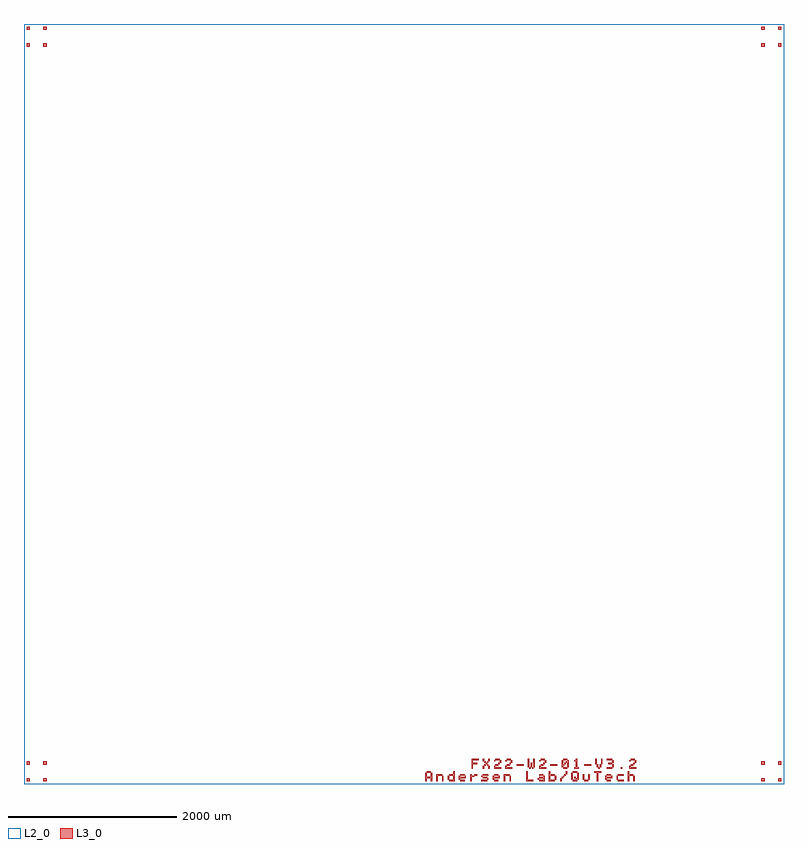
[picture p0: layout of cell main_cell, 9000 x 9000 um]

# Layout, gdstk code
import gdstk
lib = gdstk.Library(unit=1e-6, precision=1e-09)
def R(c, l, rs):  # rectangles x0, y0, x1, y1
    for r in rs: c.add(gdstk.rectangle(r[:2], r[2:], *l))
def P(c, l, *ps):  # polygons
    for p in ps: c.add(gdstk.Polygon(p, *l))
L2_0 = (2, 0)
L3_0 = (3, 0)

main_cell = lib.new_cell('main_cell')
R(main_cell, L2_0, [(-4500,-4500,4500,4500)])
R(main_cell, L3_0, [(-4470,-4470,-4430,-4430), (-4470,-4470,-4430,-4430), (-4470,-4470,-4430,-4430), (-4470,-4470,-4430,-4430), (-4470,-4470,-4430,-4430), (-4470,-4470,-4430,-4430), (-4270,-4470,-4230,-4430), (-4270,-4470,-4230,-4430), (-4270,-4470,-4230,-4430), (-4270,-4470,-4230,-4430), (-4270,-4470,-4230,-4430), (-4270,-4470,-4230,-4430), (4230,-4470,4270,-4430), (4230,-4470,4270,-4430), (4430,-4470,4470,-4430), (4430,-4470,4470,-4430), (983.333,-4450,1000,-4433.333), (1583.333,-4450,1600,-4433.333), (1866.667,-4433.333,1883.333,-4416.667), (2016.667,-4433.333,2033.333,-4416.667), (916.667,-4416.667,933.333,-4400), (1883.333,-4416.667,1900,-4400), (1900,-4400,1916.667,-4383.333), (1483.333,-4316.667,1500,-4300), (1516.667,-4316.667,1533.333,-4300), (2300,-4316.667,2316.667,-4300), (2566.667,-4316.667,2583.333,-4300), (950,-4283.333,966.667,-4266.667), (983.333,-4283.333,1000,-4266.667), (-4470,-4270,-4430,-4230), (-4470,-4270,-4430,-4230), (-4470,-4270,-4430,-4230), (-4470,-4270,-4430,-4230), (-4470,-4270,-4430,-4230), (-4470,-4270,-4430,-4230), (-4270,-4270,-4230,-4230), (-4270,-4270,-4230,-4230), (-4270,-4270,-4230,-4230), (-4270,-4270,-4230,-4230), (-4270,-4270,-4230,-4230), (-4270,-4270,-4230,-4230), (4230,-4270,4270,-4230), (4230,-4270,4270,-4230), (4430,-4270,4470,-4230), (4430,-4270,4470,-4230), (966.667,-4266.667,983.333,-4250), (1116.667,-4266.667,1133.333,-4250), (1250,-4266.667,1266.667,-4250), (1650,-4266.667,1666.667,-4250), (1900,-4266.667,1916.667,-4250), (2716.667,-4266.667,2733.333,-4250), (950,-4250,966.667,-4233.333), (983.333,-4250,1000,-4233.333), (1066.667,-4233.333,1083.333,-4216.667), (1200,-4233.333,1216.667,-4216.667), (1600,-4233.333,1616.667,-4216.667), (2666.667,-4233.333,2683.333,-4216.667), (-4470,4230,-4430,4270), (-4470,4230,-4430,4270), (-4270,4230,-4230,4270), (-4270,4230,-4230,4270), (4230,4230,4270,4270), (4230,4230,4270,4270), (4230,4230,4270,4270), (4230,4230,4270,4270), (4230,4230,4270,4270), (4230,4230,4270,4270), (4430,4230,4470,4270), (4430,4230,4470,4270), (4430,4230,4470,4270), (4430,4230,4470,4270), (4430,4230,4470,4270), (4430,4230,4470,4270), (-4470,4430,-4430,4470), (-4470,4430,-4430,4470), (-4270,4430,-4230,4470), (-4270,4430,-4230,4470), (4230,4430,4270,4470), (4230,4430,4270,4470), (4230,4430,4270,4470), (4230,4430,4270,4470), (4230,4430,4270,4470), (4230,4430,4270,4470), (4430,4430,4470,4470), (4430,4430,4470,4470), (4430,4430,4470,4470), (4430,4430,4470,4470), (4430,4430,4470,4470), (4430,4430,4470,4470)])
P(main_cell, L3_0, [(250,-4466.667),(266.667,-4466.667),(266.667,-4450),(266.667,-4433.333),(283.333,-4433.333),(300,-4433.333),(316.667,-4433.333),(316.667,-4450),(316.667,-4466.667),(333.333,-4466.667),(333.333,-4450),(333.333,-4433.333),(333.333,-4416.667),(333.333,-4400),(333.333,-4383.333),(333.333,-4366.667),(316.667,-4366.667),(316.667,-4383.333),(316.667,-4400),(316.667,-4416.667),(300,-4416.667),(283.333,-4416.667),(266.667,-4416.667),(266.667,-4400),(266.667,-4383.333),(266.667,-4366.667),(250,-4366.667),(250,-4383.333),(250,-4400),(250,-4416.667),(250,-4433.333),(250,-4450)],
  [(266.667,-4366.667),(283.333,-4366.667),(300,-4366.667),(316.667,-4366.667),(316.667,-4350),(300,-4350),(283.333,-4350),(266.667,-4350)],
  [(383.333,-4466.667),(400,-4466.667),(400,-4450),(400,-4433.333),(400,-4416.667),(400,-4400),(416.667,-4400),(433.333,-4400),(450,-4400),(450,-4383.333),(433.333,-4383.333),(416.667,-4383.333),(400,-4383.333),(383.333,-4383.333),(383.333,-4400),(383.333,-4416.667),(383.333,-4433.333),(383.333,-4450)],
  [(450,-4466.667),(466.667,-4466.667),(466.667,-4450),(466.667,-4433.333),(466.667,-4416.667),(466.667,-4400),(450,-4400),(450,-4416.667),(450,-4433.333),(450,-4450)],
  [(516.667,-4450),(533.333,-4450),(533.333,-4433.333),(533.333,-4416.667),(533.333,-4400),(516.667,-4400),(516.667,-4416.667),(516.667,-4433.333)],
  [(533.333,-4466.667),(550,-4466.667),(566.667,-4466.667),(583.333,-4466.667),(600,-4466.667),(600,-4450),(600,-4433.333),(600,-4416.667),(600,-4400),(600,-4383.333),(600,-4366.667),(600,-4350),(583.333,-4350),(583.333,-4366.667),(583.333,-4383.333),(566.667,-4383.333),(550,-4383.333),(533.333,-4383.333),(533.333,-4400),(550,-4400),(566.667,-4400),(583.333,-4400),(583.333,-4416.667),(583.333,-4433.333),(583.333,-4450),(566.667,-4450),(550,-4450),(533.333,-4450)],
  [(650,-4450),(666.667,-4450),(666.667,-4433.333),(683.333,-4433.333),(700,-4433.333),(716.667,-4433.333),(733.333,-4433.333),(733.333,-4416.667),(733.333,-4400),(716.667,-4400),(716.667,-4416.667),(700,-4416.667),(683.333,-4416.667),(666.667,-4416.667),(666.667,-4400),(650,-4400),(650,-4416.667),(650,-4433.333)],
  [(666.667,-4466.667),(683.333,-4466.667),(700,-4466.667),(716.667,-4466.667),(716.667,-4450),(700,-4450),(683.333,-4450),(666.667,-4450)],
  [(666.667,-4400),(683.333,-4400),(700,-4400),(716.667,-4400),(716.667,-4383.333),(700,-4383.333),(683.333,-4383.333),(666.667,-4383.333)],
  [(783.333,-4466.667),(800,-4466.667),(800,-4450),(800,-4433.333),(800,-4416.667),(816.667,-4416.667),(833.333,-4416.667),(833.333,-4400),(816.667,-4400),(800,-4400),(800,-4383.333),(783.333,-4383.333),(783.333,-4400),(783.333,-4416.667),(783.333,-4433.333),(783.333,-4450)],
  [(833.333,-4400),(850,-4400),(866.667,-4400),(866.667,-4383.333),(850,-4383.333),(833.333,-4383.333)],
  [(916.667,-4466.667),(933.333,-4466.667),(950,-4466.667),(966.667,-4466.667),(983.333,-4466.667),(983.333,-4450),(966.667,-4450),(950,-4450),(933.333,-4450),(916.667,-4450)],
  [(933.333,-4433.333),(950,-4433.333),(966.667,-4433.333),(983.333,-4433.333),(983.333,-4416.667),(966.667,-4416.667),(950,-4416.667),(933.333,-4416.667)],
  [(933.333,-4400),(950,-4400),(966.667,-4400),(983.333,-4400),(1000,-4400),(1000,-4383.333),(983.333,-4383.333),(966.667,-4383.333),(950,-4383.333),(933.333,-4383.333)],
  [(1050,-4450),(1066.667,-4450),(1066.667,-4433.333),(1083.333,-4433.333),(1100,-4433.333),(1116.667,-4433.333),(1133.333,-4433.333),(1133.333,-4416.667),(1133.333,-4400),(1116.667,-4400),(1116.667,-4416.667),(1100,-4416.667),(1083.333,-4416.667),(1066.667,-4416.667),(1066.667,-4400),(1050,-4400),(1050,-4416.667),(1050,-4433.333)],
  [(1066.667,-4466.667),(1083.333,-4466.667),(1100,-4466.667),(1116.667,-4466.667),(1116.667,-4450),(1100,-4450),(1083.333,-4450),(1066.667,-4450)],
  [(1066.667,-4400),(1083.333,-4400),(1100,-4400),(1116.667,-4400),(1116.667,-4383.333),(1100,-4383.333),(1083.333,-4383.333),(1066.667,-4383.333)],
  [(1183.333,-4466.667),(1200,-4466.667),(1200,-4450),(1200,-4433.333),(1200,-4416.667),(1200,-4400),(1216.667,-4400),(1233.333,-4400),(1250,-4400),(1250,-4383.333),(1233.333,-4383.333),(1216.667,-4383.333),(1200,-4383.333),(1183.333,-4383.333),(1183.333,-4400),(1183.333,-4416.667),(1183.333,-4433.333),(1183.333,-4450)],
  [(1250,-4466.667),(1266.667,-4466.667),(1266.667,-4450),(1266.667,-4433.333),(1266.667,-4416.667),(1266.667,-4400),(1250,-4400),(1250,-4416.667),(1250,-4433.333),(1250,-4450)],
  [(1450,-4466.667),(1466.667,-4466.667),(1483.333,-4466.667),(1500,-4466.667),(1516.667,-4466.667),(1533.333,-4466.667),(1533.333,-4450),(1516.667,-4450),(1500,-4450),(1483.333,-4450),(1466.667,-4450),(1466.667,-4433.333),(1466.667,-4416.667),(1466.667,-4400),(1466.667,-4383.333),(1466.667,-4366.667),(1466.667,-4350),(1450,-4350),(1450,-4366.667),(1450,-4383.333),(1450,-4400),(1450,-4416.667),(1450,-4433.333),(1450,-4450)],
  [(1600,-4466.667),(1616.667,-4466.667),(1633.333,-4466.667),(1650,-4466.667),(1666.667,-4466.667),(1666.667,-4450),(1666.667,-4433.333),(1666.667,-4416.667),(1666.667,-4400),(1650,-4400),(1650,-4416.667),(1633.333,-4416.667),(1616.667,-4416.667),(1600,-4416.667),(1600,-4433.333),(1616.667,-4433.333),(1633.333,-4433.333),(1650,-4433.333),(1650,-4450),(1633.333,-4450),(1616.667,-4450),(1600,-4450)],
  [(1600,-4400),(1616.667,-4400),(1633.333,-4400),(1650,-4400),(1650,-4383.333),(1633.333,-4383.333),(1616.667,-4383.333),(1600,-4383.333)],
  [(1716.667,-4466.667),(1733.333,-4466.667),(1750,-4466.667),(1766.667,-4466.667),(1783.333,-4466.667),(1783.333,-4450),(1766.667,-4450),(1750,-4450),(1733.333,-4450),(1733.333,-4433.333),(1733.333,-4416.667),(1733.333,-4400),(1750,-4400),(1766.667,-4400),(1783.333,-4400),(1783.333,-4383.333),(1766.667,-4383.333),(1750,-4383.333),(1733.333,-4383.333),(1733.333,-4366.667),(1733.333,-4350),(1716.667,-4350),(1716.667,-4366.667),(1716.667,-4383.333),(1716.667,-4400),(1716.667,-4416.667),(1716.667,-4433.333),(1716.667,-4450)],
  [(1783.333,-4450),(1800,-4450),(1800,-4433.333),(1800,-4416.667),(1800,-4400),(1783.333,-4400),(1783.333,-4416.667),(1783.333,-4433.333)],
  [(1850,-4466.667),(1866.667,-4466.667),(1866.667,-4450),(1866.667,-4433.333),(1850,-4433.333),(1850,-4450)],
  [(1916.667,-4383.333),(1933.333,-4383.333),(1933.333,-4366.667),(1933.333,-4350),(1916.667,-4350),(1916.667,-4366.667)],
  [(1983.333,-4450),(2000,-4450),(2000,-4433.333),(2000,-4416.667),(2000,-4400),(2000,-4383.333),(2000,-4366.667),(1983.333,-4366.667),(1983.333,-4383.333),(1983.333,-4400),(1983.333,-4416.667),(1983.333,-4433.333)],
  [(2000,-4466.667),(2016.667,-4466.667),(2033.333,-4466.667),(2050,-4466.667),(2050,-4450),(2066.667,-4450),(2066.667,-4433.333),(2066.667,-4416.667),(2066.667,-4400),(2066.667,-4383.333),(2066.667,-4366.667),(2050,-4366.667),(2050,-4383.333),(2050,-4400),(2050,-4416.667),(2050,-4433.333),(2033.333,-4433.333),(2033.333,-4450),(2016.667,-4450),(2000,-4450)],
  [(2000,-4366.667),(2016.667,-4366.667),(2033.333,-4366.667),(2050,-4366.667),(2050,-4350),(2033.333,-4350),(2016.667,-4350),(2000,-4350)],
  [(2116.667,-4450),(2133.333,-4450),(2133.333,-4433.333),(2133.333,-4416.667),(2133.333,-4400),(2133.333,-4383.333),(2116.667,-4383.333),(2116.667,-4400),(2116.667,-4416.667),(2116.667,-4433.333)],
  [(2133.333,-4466.667),(2150,-4466.667),(2166.667,-4466.667),(2183.333,-4466.667),(2183.333,-4450),(2166.667,-4450),(2150,-4450),(2133.333,-4450)],
  [(2183.333,-4450),(2200,-4450),(2200,-4433.333),(2200,-4416.667),(2200,-4400),(2200,-4383.333),(2183.333,-4383.333),(2183.333,-4400),(2183.333,-4416.667),(2183.333,-4433.333)],
  [(2250,-4366.667),(2266.667,-4366.667),(2283.333,-4366.667),(2283.333,-4383.333),(2283.333,-4400),(2283.333,-4416.667),(2283.333,-4433.333),(2283.333,-4450),(2283.333,-4466.667),(2300,-4466.667),(2300,-4450),(2300,-4433.333),(2300,-4416.667),(2300,-4400),(2300,-4383.333),(2300,-4366.667),(2316.667,-4366.667),(2333.333,-4366.667),(2333.333,-4350),(2316.667,-4350),(2300,-4350),(2283.333,-4350),(2266.667,-4350),(2250,-4350)],
  [(2383.333,-4450),(2400,-4450),(2400,-4433.333),(2416.667,-4433.333),(2433.333,-4433.333),(2450,-4433.333),(2466.667,-4433.333),(2466.667,-4416.667),(2466.667,-4400),(2450,-4400),(2450,-4416.667),(2433.333,-4416.667),(2416.667,-4416.667),(2400,-4416.667),(2400,-4400),(2383.333,-4400),(2383.333,-4416.667),(2383.333,-4433.333)],
  [(2400,-4466.667),(2416.667,-4466.667),(2433.333,-4466.667),(2450,-4466.667),(2450,-4450),(2433.333,-4450),(2416.667,-4450),(2400,-4450)],
  [(2400,-4400),(2416.667,-4400),(2433.333,-4400),(2450,-4400),(2450,-4383.333),(2433.333,-4383.333),(2416.667,-4383.333),(2400,-4383.333)],
  [(2516.667,-4450),(2533.333,-4450),(2533.333,-4433.333),(2533.333,-4416.667),(2533.333,-4400),(2516.667,-4400),(2516.667,-4416.667),(2516.667,-4433.333)],
  [(2533.333,-4466.667),(2550,-4466.667),(2566.667,-4466.667),(2583.333,-4466.667),(2600,-4466.667),(2600,-4450),(2583.333,-4450),(2566.667,-4450),(2550,-4450),(2533.333,-4450)],
  [(2533.333,-4400),(2550,-4400),(2566.667,-4400),(2583.333,-4400),(2600,-4400),(2600,-4383.333),(2583.333,-4383.333),(2566.667,-4383.333),(2550,-4383.333),(2533.333,-4383.333)],
  [(2650,-4466.667),(2666.667,-4466.667),(2666.667,-4450),(2666.667,-4433.333),(2666.667,-4416.667),(2666.667,-4400),(2683.333,-4400),(2700,-4400),(2716.667,-4400),(2716.667,-4383.333),(2700,-4383.333),(2683.333,-4383.333),(2666.667,-4383.333),(2666.667,-4366.667),(2666.667,-4350),(2650,-4350),(2650,-4366.667),(2650,-4383.333),(2650,-4400),(2650,-4416.667),(2650,-4433.333),(2650,-4450)],
  [(2716.667,-4466.667),(2733.333,-4466.667),(2733.333,-4450),(2733.333,-4433.333),(2733.333,-4416.667),(2733.333,-4400),(2716.667,-4400),(2716.667,-4416.667),(2716.667,-4433.333),(2716.667,-4450)],
  [(800,-4316.667),(816.667,-4316.667),(816.667,-4300),(816.667,-4283.333),(816.667,-4266.667),(833.333,-4266.667),(850,-4266.667),(866.667,-4266.667),(866.667,-4250),(850,-4250),(833.333,-4250),(816.667,-4250),(816.667,-4233.333),(816.667,-4216.667),(833.333,-4216.667),(850,-4216.667),(866.667,-4216.667),(883.333,-4216.667),(883.333,-4200),(866.667,-4200),(850,-4200),(833.333,-4200),(816.667,-4200),(800,-4200),(800,-4216.667),(800,-4233.333),(800,-4250),(800,-4266.667),(800,-4283.333),(800,-4300)],
  [(933.333,-4316.667),(950,-4316.667),(950,-4300),(950,-4283.333),(933.333,-4283.333),(933.333,-4300)],
  [(933.333,-4233.333),(950,-4233.333),(950,-4216.667),(950,-4200),(933.333,-4200),(933.333,-4216.667)],
  [(1000,-4316.667),(1016.667,-4316.667),(1016.667,-4300),(1016.667,-4283.333),(1000,-4283.333),(1000,-4300)],
  [(1000,-4233.333),(1016.667,-4233.333),(1016.667,-4216.667),(1016.667,-4200),(1000,-4200),(1000,-4216.667)],
  [(1066.667,-4316.667),(1083.333,-4316.667),(1100,-4316.667),(1116.667,-4316.667),(1133.333,-4316.667),(1150,-4316.667),(1150,-4300),(1133.333,-4300),(1116.667,-4300),(1100,-4300),(1083.333,-4300),(1083.333,-4283.333),(1066.667,-4283.333),(1066.667,-4300)],
  [(1083.333,-4283.333),(1100,-4283.333),(1116.667,-4283.333),(1116.667,-4266.667),(1100,-4266.667),(1083.333,-4266.667)],
  [(1083.333,-4216.667),(1100,-4216.667),(1116.667,-4216.667),(1133.333,-4216.667),(1133.333,-4200),(1116.667,-4200),(1100,-4200),(1083.333,-4200)],
  [(1133.333,-4250),(1150,-4250),(1150,-4233.333),(1150,-4216.667),(1133.333,-4216.667),(1133.333,-4233.333)],
  [(1200,-4316.667),(1216.667,-4316.667),(1233.333,-4316.667),(1250,-4316.667),(1266.667,-4316.667),(1283.333,-4316.667),(1283.333,-4300),(1266.667,-4300),(1250,-4300),(1233.333,-4300),(1216.667,-4300),(1216.667,-4283.333),(1200,-4283.333),(1200,-4300)],
  [(1216.667,-4283.333),(1233.333,-4283.333),(1250,-4283.333),(1250,-4266.667),(1233.333,-4266.667),(1216.667,-4266.667)],
  [(1216.667,-4216.667),(1233.333,-4216.667),(1250,-4216.667),(1266.667,-4216.667),(1266.667,-4200),(1250,-4200),(1233.333,-4200),(1216.667,-4200)],
  [(1266.667,-4250),(1283.333,-4250),(1283.333,-4233.333),(1283.333,-4216.667),(1266.667,-4216.667),(1266.667,-4233.333)],
  [(1333.333,-4283.333),(1350,-4283.333),(1366.667,-4283.333),(1383.333,-4283.333),(1400,-4283.333),(1416.667,-4283.333),(1416.667,-4266.667),(1400,-4266.667),(1383.333,-4266.667),(1366.667,-4266.667),(1350,-4266.667),(1333.333,-4266.667)],
  [(1466.667,-4300),(1483.333,-4300),(1483.333,-4283.333),(1483.333,-4266.667),(1483.333,-4250),(1483.333,-4233.333),(1483.333,-4216.667),(1483.333,-4200),(1466.667,-4200),(1466.667,-4216.667),(1466.667,-4233.333),(1466.667,-4250),(1466.667,-4266.667),(1466.667,-4283.333)],
  [(1500,-4300),(1516.667,-4300),(1516.667,-4283.333),(1516.667,-4266.667),(1516.667,-4250),(1500,-4250),(1500,-4266.667),(1500,-4283.333)],
  [(1533.333,-4300),(1550,-4300),(1550,-4283.333),(1550,-4266.667),(1550,-4250),(1550,-4233.333),(1550,-4216.667),(1550,-4200),(1533.333,-4200),(1533.333,-4216.667),(1533.333,-4233.333),(1533.333,-4250),(1533.333,-4266.667),(1533.333,-4283.333)],
  [(1600,-4316.667),(1616.667,-4316.667),(1633.333,-4316.667),(1650,-4316.667),(1666.667,-4316.667),(1683.333,-4316.667),(1683.333,-4300),(1666.667,-4300),(1650,-4300),(1633.333,-4300),(1616.667,-4300),(1616.667,-4283.333),(1600,-4283.333),(1600,-4300)],
  [(1616.667,-4283.333),(1633.333,-4283.333),(1650,-4283.333),(1650,-4266.667),(1633.333,-4266.667),(1616.667,-4266.667)],
  [(1616.667,-4216.667),(1633.333,-4216.667),(1650,-4216.667),(1666.667,-4216.667),(1666.667,-4200),(1650,-4200),(1633.333,-4200),(1616.667,-4200)],
  [(1666.667,-4250),(1683.333,-4250),(1683.333,-4233.333),(1683.333,-4216.667),(1666.667,-4216.667),(1666.667,-4233.333)],
  [(1733.333,-4283.333),(1750,-4283.333),(1766.667,-4283.333),(1783.333,-4283.333),(1800,-4283.333),(1816.667,-4283.333),(1816.667,-4266.667),(1800,-4266.667),(1783.333,-4266.667),(1766.667,-4266.667),(1750,-4266.667),(1733.333,-4266.667)],
  [(1866.667,-4300),(1883.333,-4300),(1883.333,-4283.333),(1900,-4283.333),(1900,-4266.667),(1883.333,-4266.667),(1883.333,-4250),(1883.333,-4233.333),(1883.333,-4216.667),(1866.667,-4216.667),(1866.667,-4233.333),(1866.667,-4250),(1866.667,-4266.667),(1866.667,-4283.333)],
  [(1883.333,-4316.667),(1900,-4316.667),(1916.667,-4316.667),(1933.333,-4316.667),(1933.333,-4300),(1916.667,-4300),(1900,-4300),(1883.333,-4300)],
  [(1883.333,-4216.667),(1900,-4216.667),(1916.667,-4216.667),(1933.333,-4216.667),(1933.333,-4200),(1916.667,-4200),(1900,-4200),(1883.333,-4200)],
  [(1916.667,-4250),(1933.333,-4250),(1933.333,-4266.667),(1933.333,-4283.333),(1933.333,-4300),(1950,-4300),(1950,-4283.333),(1950,-4266.667),(1950,-4250),(1950,-4233.333),(1950,-4216.667),(1933.333,-4216.667),(1933.333,-4233.333),(1916.667,-4233.333)],
  [(2016.667,-4316.667),(2033.333,-4316.667),(2050,-4316.667),(2066.667,-4316.667),(2066.667,-4300),(2050,-4300),(2050,-4283.333),(2050,-4266.667),(2050,-4250),(2050,-4233.333),(2050,-4216.667),(2050,-4200),(2033.333,-4200),(2033.333,-4216.667),(2016.667,-4216.667),(2016.667,-4233.333),(2033.333,-4233.333),(2033.333,-4250),(2033.333,-4266.667),(2033.333,-4283.333),(2033.333,-4300),(2016.667,-4300)],
  [(2133.333,-4283.333),(2150,-4283.333),(2166.667,-4283.333),(2183.333,-4283.333),(2200,-4283.333),(2216.667,-4283.333),(2216.667,-4266.667),(2200,-4266.667),(2183.333,-4266.667),(2166.667,-4266.667),(2150,-4266.667),(2133.333,-4266.667)],
  [(2266.667,-4266.667),(2283.333,-4266.667),(2283.333,-4250),(2283.333,-4233.333),(2283.333,-4216.667),(2283.333,-4200),(2266.667,-4200),(2266.667,-4216.667),(2266.667,-4233.333),(2266.667,-4250)],
  [(2283.333,-4300),(2300,-4300),(2300,-4283.333),(2300,-4266.667),(2283.333,-4266.667),(2283.333,-4283.333)],
  [(2316.667,-4300),(2333.333,-4300),(2333.333,-4283.333),(2333.333,-4266.667),(2316.667,-4266.667),(2316.667,-4283.333)],
  [(2333.333,-4266.667),(2350,-4266.667),(2350,-4250),(2350,-4233.333),(2350,-4216.667),(2350,-4200),(2333.333,-4200),(2333.333,-4216.667),(2333.333,-4233.333),(2333.333,-4250)],
  [(2400,-4316.667),(2416.667,-4316.667),(2433.333,-4316.667),(2450,-4316.667),(2466.667,-4316.667),(2466.667,-4300),(2450,-4300),(2433.333,-4300),(2416.667,-4300),(2400,-4300)],
  [(2400,-4216.667),(2416.667,-4216.667),(2433.333,-4216.667),(2450,-4216.667),(2466.667,-4216.667),(2466.667,-4200),(2450,-4200),(2433.333,-4200),(2416.667,-4200),(2400,-4200)],
  [(2416.667,-4266.667),(2433.333,-4266.667),(2450,-4266.667),(2466.667,-4266.667),(2466.667,-4250),(2450,-4250),(2433.333,-4250),(2416.667,-4250)],
  [(2466.667,-4300),(2483.333,-4300),(2483.333,-4283.333),(2483.333,-4266.667),(2466.667,-4266.667),(2466.667,-4283.333)],
  [(2466.667,-4250),(2483.333,-4250),(2483.333,-4233.333),(2483.333,-4216.667),(2466.667,-4216.667),(2466.667,-4233.333)],
  [(2666.667,-4316.667),(2683.333,-4316.667),(2700,-4316.667),(2716.667,-4316.667),(2733.333,-4316.667),(2750,-4316.667),(2750,-4300),(2733.333,-4300),(2716.667,-4300),(2700,-4300),(2683.333,-4300),(2683.333,-4283.333),(2666.667,-4283.333),(2666.667,-4300)],
  [(2683.333,-4283.333),(2700,-4283.333),(2716.667,-4283.333),(2716.667,-4266.667),(2700,-4266.667),(2683.333,-4266.667)],
  [(2683.333,-4216.667),(2700,-4216.667),(2716.667,-4216.667),(2733.333,-4216.667),(2733.333,-4200),(2716.667,-4200),(2700,-4200),(2683.333,-4200)],
  [(2733.333,-4250),(2750,-4250),(2750,-4233.333),(2750,-4216.667),(2733.333,-4216.667),(2733.333,-4233.333)])

lib.write_gds('main_cell.gds')
